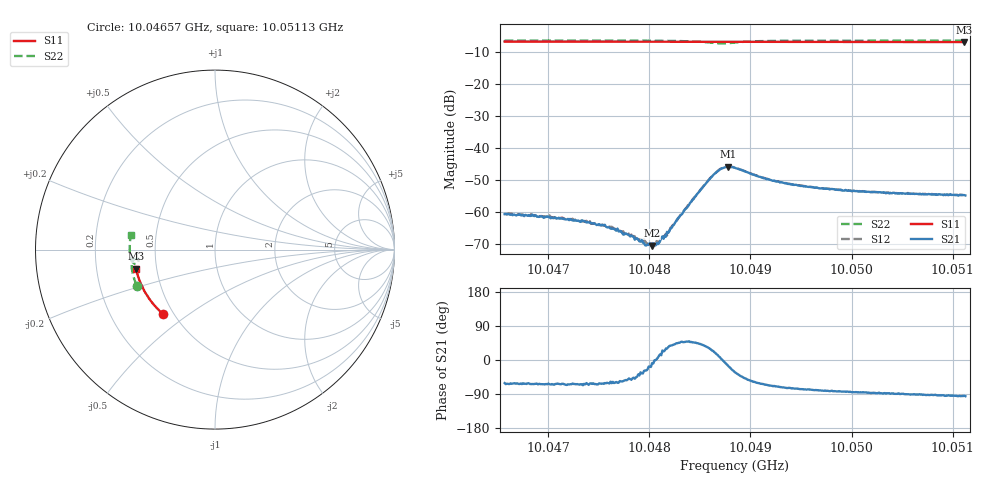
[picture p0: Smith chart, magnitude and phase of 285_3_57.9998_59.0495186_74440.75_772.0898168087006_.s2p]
#  HZ  S  RI  R  50.00
! Rohde & Schwarz Vector Network Analyzer
! Rohde-Schwarz,ZNB20-2Port,1311601062101988,3.16
! Created: UTC 3/21/2024, 1:03:03 AM
! freq[Hz]  re:S11  im:S11  re:S21  im:S21  re:S12  im:S12  re:S22  im:S22
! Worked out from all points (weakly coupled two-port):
!   401 points, 10.04657 GHz to 10.05113 GHz, reference 50 ohm
!   highest |S21| = -45.92 dB at 10.04878 GHz (marker M1); lowest = -70.6 dB at 10.04803 GHz (marker M2)
!   lowest |S11| = -6.9 dB at 10.05111 GHz (marker M3), VSWR 2.66, Z = 19.1 - j5.09 ohm
!   |S11| at or under -10 dB: nowhere
!   |S22| runs from -7.3 to -6.4 dB; largest |S21 - S12| = 0.00038
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1.0046571e10  -0.2897 -0.3587  0.000449 -0.000807  0.000478 -0.000787  -0.436 -0.2
1.0046856e10  -0.3038 -0.346  0.000385 -0.000774  0.000422 -0.000758  -0.4431 -0.182
1.0047334e10  -0.3262 -0.3236  0.000326 -0.000664  0.000348 -0.000619  -0.4537 -0.1511
1.004755e10  -0.3356 -0.313  0.000282 -0.00055  0.000334 -0.000505  -0.4576 -0.1363
1.0047619e10  -0.3386 -0.3094  0.000296 -0.000458  0.000326 -0.000479  -0.4587 -0.1317
1.0047824e10  -0.3472 -0.299  0.000261 -0.000337  0.000284 -0.000339  -0.4617 -0.1168
1.004796e10  -0.3528 -0.292  0.000265 -0.00014  0.000298 -0.000176  -0.463 -0.1065
1.0047994e10  -0.3541 -0.2903  0.000289 -9.16e-05  0.000305 -8.35e-05  -0.4635 -0.104
1.0048028e10  -0.3556 -0.2885  0.000291 -4.14e-05  0.000323 -3.3e-05  -0.4637 -0.1011
1.0048074e10  -0.3576 -0.2859  0.000325 1.14e-05  0.00035 2.25e-05  -0.4639 -0.0975
1.0048097e10  -0.3583 -0.2848  0.000318 6.17e-05  0.000319 8.19e-05  -0.4641 -0.0956
1.0048176e10  -0.3615 -0.2806  0.000421 0.000245  0.000356 0.000234  -0.4642 -0.089
1.0048381e10  -0.3691 -0.2696  0.000797 0.000898  0.000795 0.000973  -0.4611 -0.0698
1.004862e10  -0.3779 -0.2564  0.00321 0.00152  0.00312 0.00174  -0.439 -0.0518
1.0048712e10  -0.3806 -0.2513  0.00472 0.000259  0.00471 0.000589  -0.4273 -0.0603
1.004878e10  -0.383 -0.2477  0.00487 -0.00135  0.005 -0.00107  -0.4286 -0.072
1.0048848e10  -0.3855 -0.244  0.00412 -0.00262  0.00437 -0.00233  -0.4376 -0.0786
1.0049235e10  -0.3982 -0.2219  0.00113 -0.00285  0.00127 -0.00278  -0.4693 -0.0516
1.0049611e10  -0.4091 -0.1997  0.000473 -0.00238  0.000594 -0.00237  -0.4746 -0.0212
1.0050374e10  -0.4274 -0.1531  7.87e-05 -0.00194  0.000171 -0.00197  -0.4747 0.0327
1.0051114e10  -0.4402 -0.1062  -0.000139 -0.00182  -6.72e-05 -0.00183  -0.4683 0.082
1.0051125e10  -0.4405 -0.1055  -0.000172 -0.00179  -6.3e-05 -0.00184  -0.4683 0.0827
